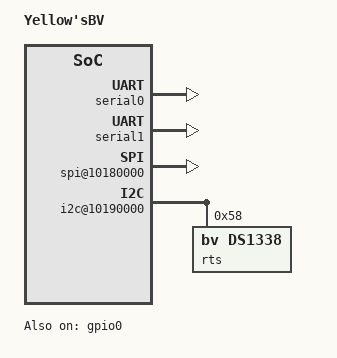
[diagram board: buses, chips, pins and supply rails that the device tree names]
/dts-v1/;

/ {
    compatible = "bv,Yellow'sBV";
    model = "Yellow'sBV";

    chosen {
        bootargs = "ignore_loglevel rw root=/dev/nfs ip=on";
    };

    aliases {
        serial0 = &serial0;
        serial1 = &serial1;
        gpio0 = &gpio0;
    };

    cpu {
        #address-cells = <1>;
        #size-cells = <0>;

        cpu@0 {
            device_type = "cpu";
            compatible = "arm-cortex-a9";
            reg = <0>;
        };

        cpu@1 {
            device_type = "cpu";
            compatile = "arm-cortex-a9";
            reg = <1>;
        };
    };

    soc {
        #address-cells = <1>;
        #size-cells = <1>;

        serial0: serial@101B1000 {
            compatible = "arm-bv011";
            reg = <0x101B1000 0x1000>;
            status = "okay";
        };

        serial1: serial@101B2000 {
            compatible = "arm-bv011";
            reg = <0x101B2000 0x1000>;
            status = "okay";
        };

        gpio0: gpio@101B3000 {
            compatible = "arm-bv061";
            reg = <0x101B3000 0x1000>;
            status = "okay";
        };

        spi@10180000 {
            compatible = "arm,bv022";
            reg = <0x180000 0x1000>;
            status = "okay";
        };

        i2c@10190000 {
            compatible = "bv,bv-i2c-bus";
            reg = <0x10190000 0x1000>;
            #address-cells = <1>;
            #size-cells = <0>;
            status = "okay";

            rts@58 {
                compatible = "bv,ds1338";
                reg = <0x58>;
            };
        };
    };
};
